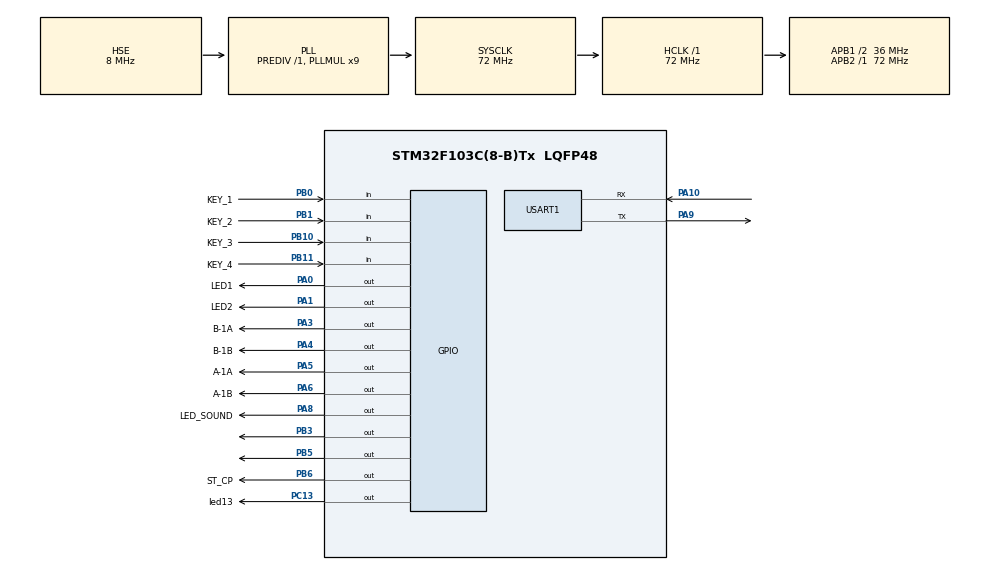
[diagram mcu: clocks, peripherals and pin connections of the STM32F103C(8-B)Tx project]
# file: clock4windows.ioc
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Mcu.Family=STM32F1
PB10.GPIO_PuPd=GPIO_PULLUP
VP_RTC_VS_RTC_Activate.Mode=RTC_Enabled
PA6.GPIO_Label=A-1B
PB0.GPIO_Label=KEY_1
PB6.GPIO_Label=ST_CP
NVIC.TIM1_UP_IRQn=true\:0\:0\:false\:false\:true\:true\:true
PB11.GPIO_PuPd=GPIO_PULLUP
PB11.Signal=GPIO_Input
RCC.SYSCLKSource=RCC_SYSCLKSOURCE_PLLCLK
ProjectManager.StackSize=0x400
PD1-OSC_OUT.Signal=RCC_OSC_OUT
VP_RTC_No_RTC_Output.Mode=RTC_OUT_NO
TIM1.Prescaler=719
PB1.GPIO_PuPd=GPIO_PULLUP
RCC.HCLKFreq_Value=72000000
RCC.APB2TimFreq_Value=72000000
PB6.Signal=GPIO_Output
RCC.AHBFreq_Value=72000000
RTC.Minutes=38
RCC.RTCClockSelection=RCC_RTCCLKSOURCE_LSE
RCC.PLLMUL=RCC_PLL_MUL9
PC14-OSC32_IN.Mode=LSE-External-Oscillator
PC13-TAMPER-RTC.PinState=GPIO_PIN_SET
PA14.Mode=Serial_Wire
PB1.GPIO_Label=KEY_2
RTC.AsynchPrediv=RTC_AUTO_1_SECOND
PA8.Signal=GPIO_Output
PC13-TAMPER-RTC.GPIO_Speed=GPIO_SPEED_FREQ_LOW
VP_TIM1_VS_ClockSourceINT.Mode=Internal
Mcu.Package=LQFP48
PB1.Signal=GPIO_Input
PA6.Signal=GPIO_Output
PC13-TAMPER-RTC.GPIO_PuPd=GPIO_PULLUP
PA10.Signal=USART1_RX
RCC.APB1TimFreq_Value=72000000
TIM1.Period=50
RTC.AutoPrediv=RTC_AUTO_1_SECOND
PA4.GPIO_Label=B-1B
PA3.Signal=GPIO_Output
RCC.PLLSourceVirtual=RCC_PLLSOURCE_HSE
PC15-OSC32_OUT.Mode=LSE-External-Oscillator
PD1-OSC_OUT.Mode=HSE-External-Oscillator
PA10.Mode=Asynchronous
PB11.GPIO_Label=KEY_4
PC13-TAMPER-RTC.Signal=GPIO_Output
PD0-OSC_IN.Signal=RCC_OSC_IN
RCC.APB1CLKDivider=RCC_HCLK_DIV2
PC14-OSC32_IN.Signal=RCC_OSC32_IN
PA0-WKUP.GPIO_Label=LED1
PA0-WKUP.Signal=GPIO_Output
PA13.Signal=SYS_JTMS-SWDIO
PA9.Mode=Asynchronous
PA8.GPIO_Label=LED_SOUND
ProjectManager.TargetToolchain=STM32CubeIDE
PB10.GPIO_Label=KEY_3
RTC.Year=20
PA9.Signal=USART1_TX
RTC.Format=RTC_FORMAT_BIN
RCC.USBFreq_Value=72000000
PC15-OSC32_OUT.Signal=RCC_OSC32_OUT
PA1.Signal=GPIO_Output
PD0-OSC_IN.Mode=HSE-External-Oscillator
PB10.Signal=GPIO_Input
PA5.Signal=GPIO_Output
board=custom
PC13-TAMPER-RTC.GPIO_Label=led13
RCC.APB2Freq_Value=72000000
PA1.GPIO_Label=LED2
PA13.Mode=Serial_Wire
Mcu.Name=STM32F103C(8-B)Tx
PB3.Signal=GPIO_Output
PA4.Signal=GPIO_Output
RCC.SYSCLKFreq_VALUE=72000000
RTC.Hours=17
PB5.Signal=GPIO_Output
PA5.GPIO_Label=A-1A
USART1.VirtualMode=VM_ASYNC
PA14.Signal=SYS_JTCK-SWCLK
ProjectManager.HeapSize=0x200
NVIC.PriorityGroup=NVIC_PRIORITYGROUP_4
PB6.GPIO_Speed=GPIO_SPEED_FREQ_MEDIUM
RCC.APB1Freq_Value=36000000
PB0.Signal=GPIO_Input
PB0.GPIO_PuPd=GPIO_PULLUP
PA3.GPIO_Label=B-1A

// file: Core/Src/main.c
/* USER CODE BEGIN Header */
/**
  ******************************************************************************
  * @file           : main.c
  * @brief          : Main program body
  ******************************************************************************
  * @attention
  *
  * <h2><center>&copy; Copyright (c) 2021 STMicroelectronics.
  * All rights reserved.</center></h2>
  *
  * This software component is licensed by ST under BSD 3-Clause license,
  * the "License"; You may not use this file except in compliance with the
  * License. You may obtain a copy of the License at:
  *                        opensource.org/licenses/BSD-3-Clause
  *
  ******************************************************************************
  */
/* USER CODE END Header */
#include "main.h"

/* USER CODE BEGIN Includes */
#include "string.h"
#include <stdio.h>
/* USER CODE END Includes */

RTC_HandleTypeDef hrtc;

TIM_HandleTypeDef htim1;

UART_HandleTypeDef huart1;

/* USER CODE BEGIN PV */

uint8_t aTxBuffer[1]={0};	//буфер для передачи данных по SPI

#define cs_set() HAL_GPIO_WritePin(GPIOB, GPIO_PIN_6, GPIO_PIN_RESET)
#define cs_reset() HAL_GPIO_WritePin(GPIOB, GPIO_PIN_6, GPIO_PIN_SET)
#define cs_strob() cs_reset();cs_set()

#define data_set() HAL_GPIO_WritePin(GPIOB, GPIO_PIN_5, GPIO_PIN_SET)
#define data_reset() HAL_GPIO_WritePin(GPIOB, GPIO_PIN_5, GPIO_PIN_RESET)

#define spi_set() HAL_GPIO_WritePin(GPIOB, GPIO_PIN_3, GPIO_PIN_SET)
#define spi_reset() HAL_GPIO_WritePin(GPIOB, GPIO_PIN_3, GPIO_PIN_RESET)
#define spi_strob() spi_reset();spi_set();spi_reset()

RTC_TimeTypeDef sTime = {0};
RTC_DateTypeDef DateToUpdate = {0};

volatile	int	count=0;
//volatile	int	c_num=0;
volatile	int c_key_dr=0;
volatile	int keyscan=0;
volatile	int key[]={0,0,0,0};
			int key_f[]={0,0,0,0};
			int	c_mde=0;			//режим работы: 0 - индикация времени, 1 - установка часов, 2 - установка минут
			int key4_count=0;		//режим работы рекуператора: 0 - выключен, 1 - выдув, 2 - вдув, 3 - рекуперация
//			int	dindonf=0;
//volatile	uint8_t Hours_L=0;
//volatile	uint8_t Hours_H=0;
//volatile	uint8_t Minutes_L=0;
//volatile	uint8_t Minutes_H=0;
			int	Tmp=0;
			int co=0;

volatile	int Hours_L=0;
volatile	int Hours_H=0;
volatile	int Minutes_L=0;
volatile	int Minutes_H=0;
volatile	int Seconds_L=0;
volatile	int Seconds_H=0;

//			int	num_ind[]={0b0000111111111111,0b0010111111111111,0b0100111111111111,0b1000111111111111};
// volatile	int	num_ind[]={0b0001111111111111,0b0010111111111111,0b1000111111111111, 0b0100111111111111};

//volatile	uint8_t	sgm_out[4]={0,};	//массив для 4-х выводимых на индикатор цифр в коде 7seg
//volatile	int	sgm_out[4]={0,};	//массив для 4-х выводимых на индикатор цифр в коде 7seg
		uint8_t sgm_out[5]={0,};	//массив для 6-х выводимых на индикатор цифр в коде 7seg
/* USER CODE END PV */

void SystemClock_Config(void);
static void MX_GPIO_Init(void);
static void MX_RTC_Init(void);
static void MX_USART1_UART_Init(void);
static void MX_TIM1_Init(void);

/* USER CODE BEGIN 0 */
//Прерывание от TMR1
void HAL_TIM_PeriodElapsedCallback(TIM_HandleTypeDef *htim)
{
  if(htim->Instance == TIM1) //проверяем какой таймер вызвал колбек
   {
//прерываемя каждую 0,5 мсек.
	 count++;
/*
	  GPIOB->ODR &= 0b0000111111111111;		//гасим все разряды
//	  GPIOB->ODR |= 0b0100111111111111;
	  GPIOB->ODR |= num_ind[c_num];			//

	  GPIOA->ODR &= 0b1111111110000000;		//сбрасываем младшие 7 бит А в 0
	  GPIOA->ODR |= sgm_out[c_num];			//устанавливаем значения сегментов
	  c_num++;
//

	  if(c_num==4)
	  {
		  c_num=0;
	  }
*/
	  c_key_dr++;
	  if(c_key_dr>=50)						//опрос кнопок с защитой от дребезга (значение 50 = 25 мсек)
	  {
		  keyscan=GPIOB->IDR;
		  	  if((keyscan & 1) == 0)
		  	  {
		  		key[0]=1;
		  	  }
		  	  else
		  	  {
		  		key[0]=0;
		  	  }
		  	  if((keyscan & 2) == 0)
		  	  {
		  		key[1]=1;
		  	  }
		  	  else
		  	  {
		  		key[1]=0;
		  	  }
		  	  if((keyscan & 1024) == 0)
		  	  {
		  		key[2]=1;
		  	  }
		  	  else
		  	  {
		  		key[2]=0;
		  	  }
		  	  if((keyscan & 2048) == 0)
		  	  {
		  		key[3]=1;
		  	  }
		  	  else
		  	  {
		  		key[3]=0;
		  	  }
		c_key_dr=0;
	  }

   }
}
//
//
//процедура заполнения массива кода клавиш
//void key_inp (void)
//{
//
//}
//Процедура подучения времени и даты из RTC
//
//Вход: null
//Выход:
// переменные int Minutes_H, Minutes_L, Hours_H Hours_L с единицами/десятками часов и минут
void rtc_get(void)
{
	///////////////////////////////////////////////////////////
	//Получаем значение времени из RTC
		  	  	  	HAL_RTC_GetTime(&hrtc, &sTime, RTC_FORMAT_BIN); // RTC_FORMAT_BIN , RTC_FORMAT_BCD
	///////////////////////////////////////////////////////////
	///////////////////////////////////////////////////////////
	//Преобразуем значение времени в BCD формат
		  	  	  	Seconds_H=sTime.Seconds/10;
		  	  	  	Seconds_L=sTime.Seconds-(Seconds_H*10);
		            Minutes_H=sTime.Minutes/10;
		            Minutes_L=sTime.Minutes-(Minutes_H*10);
		            Hours_H=sTime.Hours/10;
		            Hours_L=sTime.Hours-(Hours_H*10);
	///////////////////////////////////////////////////////////
	///////////////////////////////////////////////////////////
	//Считываем значение даты (нужно для нормальной работы HAL_RTC)
		            HAL_RTC_GetDate(&hrtc, &DateToUpdate, RTC_FORMAT_BIN);
	///////////////////////////////////////////////////////////
#ifdef debug_0
	//4 DEBUG
		            char trans_str[64] = {0,};
	//END 4 DEBUG
	//4 DEBUG
	//Выводим значение часов, минут и секунд в UART1
		            snprintf(trans_str, 63, "Time %d:%d:%d\n", sTime.Hours, sTime.Minutes, sTime.Seconds);
		            HAL_UART_Transmit(&huart1, (uint8_t*)trans_str, strlen(trans_str), 1000);
	//END 4 DEBUG
	//4 DEBUG
	//Выводим BCD значения времени в UART1
		            snprintf(trans_str, 63, "H_H %d H_L %d M_H %d M_L %d\n", Hours_H, Hours_L, Minutes_H,  Minutes_L);
		            HAL_UART_Transmit(&huart1, (uint8_t*)trans_str, strlen(trans_str), 1000);
	//END 4 DEBUG
	//4 DEBUG
	//	            snprintf(trans_str, 63, "Date %d-%d-20%d\n", DateToUpdate.Date, DateToUpdate.Month, DateToUpdate.Year);
	//	            HAL_UART_Transmit(&huart1, (uint8_t*)trans_str, strlen(trans_str), 1000);
	//END 4 DEBUG
#endif
}
//
//
//Процедура преобразования BCD цифры в 7 сегментный код
//
//Вход: BCD цифра
//Выход 7 сегментны йкод цифры
//
uint8_t	bcd27seg (uint8_t bcd)
{
	static uint8_t sgm_m[]={
			0b00111111,			//0
			0b00000110,			//1
			0b01011011,			//2
			0b01001111,			//3
			0b01100110,			//4
			0b01101101,			//5
			0b01111101,			//6
			0b00000111,			//7
			0b01111111,			//8
			0b01101111,			//9
			0b00000000			//ZERRO
	};
	return (sgm_m[bcd]);
}
//
/*
//Процедура очистки индикатора
void	clr_all (void)
{
 	 aTxBuffer[0]=0x00;
 	 cs_set();
 	 for(int i=0;i<6;i++)
 	 {
 		 HAL_SPI_Transmit(&hspi1,(uint8_t*)aTxBuffer, 1, 500);
 	 }
//	    	 HAL_SPI_Transmit(&hspi1,(uint8_t*) sgm_out, 4, 5000);
 	 cs_strob();
//
}
*/
//Вывод цифры
void	num_out(int num)
{
		Tmp=1;
	 	cs_set();
	 	 for(int i=0;i<7;i++)
	 	 {
	 	 if(sgm_out[num] & (64/Tmp))
	 	{
	 		data_set();
	 	}
	 	else
	 	{
	 		data_reset();
	 	}
	 	spi_strob();
	 	Tmp=Tmp*2;
	 	 }
	    data_reset();
	    spi_strob();
}
//
//загружаем цифры для индикации
void	out_num	(void)
{
	  for(int i=0;i<6;i++)
	  {
	  num_out(i);
	  }
	    cs_strob();		//включаем индикацию
}
//
/* USER CODE END 0 */

int main(void)
{

  /* MCU Configuration--------------------------------------------------------*/

  /* Reset of all peripherals, Initializes the Flash interface and the Systick. */
  HAL_Init();

  /* Configure the system clock */
  SystemClock_Config();

  /* Initialize all configured peripherals */
  MX_GPIO_Init();
  MX_RTC_Init();
  MX_USART1_UART_Init();
  MX_TIM1_Init();
  /* USER CODE BEGIN 2 */
  HAL_TIM_Base_Start_IT(&htim1); // передаём в функцию указатель на структуру TIM1
//	  clr_all();				//очистка дисплея

  for(int i=0;i<8;i++)
  	  {
  	  	data_reset();
  	 	spi_strob();
  	  }

  	    cs_strob();
  	    c_mde=0;
  /* USER CODE END 2 */

  /* Infinite loop */
  /* USER CODE BEGIN WHILE */
  while (1)
  {

	  //
	  //КНОПКИ
	  //
	  //нажатие на KEY1 (установка режимов)
	  //
	  	  if((key[0]==1) && (key_f[0]==0))
	  	  {
	  		  key_f[0]=1;
	  		  c_mde++;					//переход на следующий режим
	  	  }
	  	  if((key[0]==0) && (key_f[0]==1))
	  	  {
	  		  key_f[0]=0;
	  	  }
	  	  if(c_mde==3)					//всего режимов 3
	  	  {
	  		  c_mde=0;					//если переход на 4-й режим, то возврат в режим 0
	  	  }
	  //
	  //
	  //нажатие на KEY2 (уменьшение)
	  //
	  	  if((key[1]==1) && (key_f[1]==0))
	  	  {
	  		  key_f[1]=1;
	  		  if(c_mde==1)				//уменьшение часов
	  		  {
	  			  if(sTime.Hours > 1)
	  			  {
	  				  sTime.Hours--;
	  			  }
	  			  else
	  			  {
	  				  sTime.Hours=24;
	  			  }
	  		  }
	  		  if(c_mde==2)				//уменьшение минут
	  		  {
	  			  if(sTime.Minutes > 1)
	  			  {
	  				  sTime.Minutes--;
	  			  }
	  			  else
	  			  {
	  				  sTime.Minutes=59;
	  			  }
	  		  }
	  		sTime.Seconds=0;
	  		HAL_RTC_SetTime(&hrtc, &sTime, RTC_FORMAT_BIN); // RTC_FORMAT_BIN , RTC_FORMAT_BCD
	  	  }
	  	  if((key[1]==0) && (key_f[1]==1))
	  	  {
	  		  key_f[1]=0;
	  	  }
	  //
	  //
	  //нажатие на KEY3 (увеличение)
	  //
	  	  	  if((key[2]==1) && (key_f[2]==0))
	  	  	  {
	  	  		  key_f[2]=1;
	  	  		  if(c_mde==1)				//увеличение часов
	  	  		  {
	  	  			  if(sTime.Hours < 23)
	  	  			  {
	  	  				  sTime.Hours++;
	  	  			  }
	  	  			  else
	  	  			  {
	  	  				  sTime.Hours=0;
	  	  			  }
	  	  		  }
	  	  		  if(c_mde==2)				//увеличение минут
	  	  		  {
	  	  			  if(sTime.Minutes < 59)
	  	  			  {
	  	  				  sTime.Minutes++;
	  	  			  }
	  	  			  else
	  	  			  {
	  	  				  sTime.Minutes=0;
	  	  			  }
	  	  		  }
	  	  		sTime.Seconds=0;
	  	  		HAL_RTC_SetTime(&hrtc, &sTime, RTC_FORMAT_BIN); // RTC_FORMAT_BIN , RTC_FORMAT_BCD
	  	  	  }
	  	  	  if((key[2]==0) && (key_f[2]==1))
	  	  	  {
	  	  		  key_f[2]=0;
	  	  	  }
	  //
	  //
	  //нажатие на KEY4 (переключение рекуператора)
	  //
	  	  	  if((key[3]==1) && (key_f[3]==0))
	  	  	  {
	  	  		  key_f[3]=1;
	  	  		  key4_count++;
	  	  		  if(key4_count == 4)
	  	  		  {
	  	  			key4_count=0;
	  	  		  }
//////	  	  		  dindonf=!dindonf;
	  	  	  }
	  	  	  if((key[3]==0) && (key_f[3]==1))
	  	  	  {
	  	  		  key_f[3]=0;
	  	  	  }

	  //
	  //
	  //РЕЖИМЫ
	  //
	  //мигающие режимы (1,2)
	  //
	    if((count>=500) && (count<1000))
	  	{
	  	  if(c_mde==1)							//установка часов
	  	  {
	  		  sgm_out[5]=bcd27seg(11);			//преобразуем время в 7seg код
	  		  sgm_out[4]=bcd27seg(11);			//--""--
	  		  out_num();

	  	  }
	  	  if(c_mde==2)							//установка минут
	  	  {
	  		  sgm_out[3]=bcd27seg(11);			//преобразуем время в 7seg код
	  		  sgm_out[2]=bcd27seg(11);			//--""--
	  		  out_num();

	  	  }
	  	}
	  //

	  if(count>=1000)
  {
//1 раз в 0,5 секунды
	  count=0;
      HAL_GPIO_TogglePin(led13_GPIO_Port, led13_Pin); // переключаем пин мигалки в противоположное состояние
	  rtc_get();		//получаем текущее время и преобразуем его d BCD Hours_L, Hours_Н, Minutes_L, Minutes_Н
	  sgm_out[5]=bcd27seg(Hours_H);			//преобразуем время в 7seg код
	  sgm_out[4]=bcd27seg(Hours_L);			//--""--
	  sgm_out[3]=bcd27seg(Minutes_H);		//--""--
	  sgm_out[2]=bcd27seg(Minutes_L);		//--""--
	  sgm_out[1]=bcd27seg(Seconds_H);		//--""--
	  sgm_out[0]=bcd27seg(Seconds_L);		//--""--

//
	  out_num();							//вывод цифр для индикации
//
	  if(key4_count==0)
//Выключение рекуперации, вдува и выдува
	  {
		  HAL_GPIO_WritePin(GPIOA, GPIO_PIN_5, GPIO_PIN_RESET);
		  HAL_GPIO_WritePin(GPIOA, GPIO_PIN_6, GPIO_PIN_RESET);
		  HAL_GPIO_WritePin(GPIOA, GPIO_PIN_0, GPIO_PIN_RESET);
		  HAL_GPIO_WritePin(GPIOA, GPIO_PIN_1, GPIO_PIN_RESET);
	  }
	  if(key4_count==1)
//Выдув
	  {
		  HAL_GPIO_WritePin(GPIOA, GPIO_PIN_5, GPIO_PIN_SET);		//выдув
		  HAL_GPIO_WritePin(GPIOA, GPIO_PIN_6, GPIO_PIN_RESET);
		  HAL_GPIO_WritePin(GPIOA, GPIO_PIN_1, GPIO_PIN_RESET);
		  HAL_GPIO_TogglePin(GPIOA, GPIO_PIN_0);
	  }
//Вдув
	  if(key4_count==2)
	  	  {
	  		  HAL_GPIO_WritePin(GPIOA, GPIO_PIN_6, GPIO_PIN_SET);		//вдув
	  		  HAL_GPIO_WritePin(GPIOA, GPIO_PIN_5, GPIO_PIN_RESET);
	  		  HAL_GPIO_WritePin(GPIOA, GPIO_PIN_0, GPIO_PIN_RESET);
	  		  HAL_GPIO_TogglePin(GPIOA, GPIO_PIN_1);
	  	  }
//Работа рекуператора
	  if(key4_count==3)
	  {
	    co++;
	    	if(co == 1)
	    	{
	    		HAL_GPIO_WritePin(GPIOA, GPIO_PIN_5, GPIO_PIN_SET);		//выдув
	    		HAL_GPIO_WritePin(GPIOA, GPIO_PIN_6, GPIO_PIN_RESET);
	    		HAL_GPIO_WritePin(GPIOA, GPIO_PIN_0, GPIO_PIN_SET);
	    		HAL_GPIO_WritePin(GPIOA, GPIO_PIN_1, GPIO_PIN_RESET);
	    	}
	    	if(co == 80)
	    	{
	    		HAL_GPIO_WritePin(GPIOA, GPIO_PIN_5, GPIO_PIN_RESET); //вдув
	    		HAL_GPIO_WritePin(GPIOA, GPIO_PIN_6, GPIO_PIN_SET);
	    		HAL_GPIO_WritePin(GPIOA, GPIO_PIN_0, GPIO_PIN_RESET);
	    		HAL_GPIO_WritePin(GPIOA, GPIO_PIN_1, GPIO_PIN_SET);

	    	}
	    	if(co == 160)
	    	{
	    		co = 0;
	    	}
	  }
//
//
  }

#ifdef debug_1
	//4 DEBUG
		            char trans_str[80] = {0,};
	//Выводим значение кнопок
		            snprintf(trans_str, 80, "key[0] = %d key[1] = %d key[2] = %d key[3] = %d keyscan = %d\n", key[0], key[1], key[2], key[3],keyscan);
		            HAL_UART_Transmit(&huart1, (uint8_t*)trans_str, strlen(trans_str), 1000);
#endif
//
    /* USER CODE END WHILE */

  }
}

void SystemClock_Config(void)
{
  RCC_OscInitTypeDef RCC_OscInitStruct = {0};
  RCC_ClkInitTypeDef RCC_ClkInitStruct = {0};
  RCC_PeriphCLKInitTypeDef PeriphClkInit = {0};

  /** Initializes the RCC Oscillators according to the specified parameters
  * in the RCC_OscInitTypeDef structure.
  */
  RCC_OscInitStruct.OscillatorType = RCC_OSCILLATORTYPE_HSE|RCC_OSCILLATORTYPE_LSE;
  RCC_OscInitStruct.HSEState = RCC_HSE_ON;
  RCC_OscInitStruct.HSEPredivValue = RCC_HSE_PREDIV_DIV1;
  RCC_OscInitStruct.LSEState = RCC_LSE_ON;
  RCC_OscInitStruct.HSIState = RCC_HSI_ON;
  RCC_OscInitStruct.PLL.PLLState = RCC_PLL_ON;
  RCC_OscInitStruct.PLL.PLLSource = RCC_PLLSOURCE_HSE;
  RCC_OscInitStruct.PLL.PLLMUL = RCC_PLL_MUL9;
  if (HAL_RCC_OscConfig(&RCC_OscInitStruct) != HAL_OK)
  {
    Error_Handler();
  }
  /** Initializes the CPU, AHB and APB buses clocks
  */
  RCC_ClkInitStruct.ClockType = RCC_CLOCKTYPE_HCLK|RCC_CLOCKTYPE_SYSCLK
                              |RCC_CLOCKTYPE_PCLK1|RCC_CLOCKTYPE_PCLK2;
  RCC_ClkInitStruct.SYSCLKSource = RCC_SYSCLKSOURCE_PLLCLK;
  RCC_ClkInitStruct.AHBCLKDivider = RCC_SYSCLK_DIV1;
  RCC_ClkInitStruct.APB1CLKDivider = RCC_HCLK_DIV2;
  RCC_ClkInitStruct.APB2CLKDivider = RCC_HCLK_DIV1;

  if (HAL_RCC_ClockConfig(&RCC_ClkInitStruct, FLASH_LATENCY_2) != HAL_OK)
  {
    Error_Handler();
  }
  PeriphClkInit.PeriphClockSelection = RCC_PERIPHCLK_RTC;
  PeriphClkInit.RTCClockSelection = RCC_RTCCLKSOURCE_LSE;
  if (HAL_RCCEx_PeriphCLKConfig(&PeriphClkInit) != HAL_OK)
  {
    Error_Handler();
  }
}

static void MX_RTC_Init(void)
{

//  RTC_TimeTypeDef sTime = {0};
//  RTC_DateTypeDef DateToUpdate = {0};

  /** Initialize RTC Only
  */
  hrtc.Instance = RTC;
  hrtc.Init.AsynchPrediv = RTC_AUTO_1_SECOND;
  hrtc.Init.OutPut = RTC_OUTPUTSOURCE_NONE;
  if (HAL_RTC_Init(&hrtc) != HAL_OK)
  {
    Error_Handler();
  }

  /** Initialize RTC and set the Time and Date
  */
  sTime.Hours = 17;
  sTime.Minutes = 38;
  sTime.Seconds = 0;

 // if (HAL_RTC_SetTime(&hrtc, &sTime, RTC_FORMAT_BIN) != HAL_OK)
 // {
 //   Error_Handler();
 // }
  DateToUpdate.WeekDay = RTC_WEEKDAY_MONDAY;
  DateToUpdate.Month = RTC_MONTH_JANUARY;
  DateToUpdate.Date = 1;
  DateToUpdate.Year = 20;

  if (HAL_RTC_SetDate(&hrtc, &DateToUpdate, RTC_FORMAT_BIN) != HAL_OK)
  {
    Error_Handler();
  }

}

static void MX_TIM1_Init(void)
{

  TIM_ClockConfigTypeDef sClockSourceConfig = {0};
  TIM_MasterConfigTypeDef sMasterConfig = {0};

  htim1.Instance = TIM1;
  htim1.Init.Prescaler = 719;
  htim1.Init.CounterMode = TIM_COUNTERMODE_UP;
  htim1.Init.Period = 50;
  htim1.Init.ClockDivision = TIM_CLOCKDIVISION_DIV1;
  htim1.Init.RepetitionCounter = 0;
  htim1.Init.AutoReloadPreload = TIM_AUTORELOAD_PRELOAD_DISABLE;
  if (HAL_TIM_Base_Init(&htim1) != HAL_OK)
  {
    Error_Handler();
  }
  sClockSourceConfig.ClockSource = TIM_CLOCKSOURCE_INTERNAL;
  if (HAL_TIM_ConfigClockSource(&htim1, &sClockSourceConfig) != HAL_OK)
  {
    Error_Handler();
  }
  sMasterConfig.MasterOutputTrigger = TIM_TRGO_RESET;
  sMasterConfig.MasterSlaveMode = TIM_MASTERSLAVEMODE_DISABLE;
  if (HAL_TIMEx_MasterConfigSynchronization(&htim1, &sMasterConfig) != HAL_OK)
  {
    Error_Handler();
  }

}

static void MX_USART1_UART_Init(void)
{

  huart1.Instance = USART1;
  huart1.Init.BaudRate = 115200;
  huart1.Init.WordLength = UART_WORDLENGTH_8B;
  huart1.Init.StopBits = UART_STOPBITS_1;
  huart1.Init.Parity = UART_PARITY_NONE;
  huart1.Init.Mode = UART_MODE_TX_RX;
  huart1.Init.HwFlowCtl = UART_HWCONTROL_NONE;
  huart1.Init.OverSampling = UART_OVERSAMPLING_16;
  if (HAL_UART_Init(&huart1) != HAL_OK)
  {
    Error_Handler();
  }

}

static void MX_GPIO_Init(void)
{
  GPIO_InitTypeDef GPIO_InitStruct = {0};

  /* GPIO Ports Clock Enable */
  __HAL_RCC_GPIOC_CLK_ENABLE();
  __HAL_RCC_GPIOD_CLK_ENABLE();
  __HAL_RCC_GPIOA_CLK_ENABLE();
  __HAL_RCC_GPIOB_CLK_ENABLE();

  /*Configure GPIO pin Output Level */
  HAL_GPIO_WritePin(led13_GPIO_Port, led13_Pin, GPIO_PIN_SET);

  /*Configure GPIO pin Output Level */
  HAL_GPIO_WritePin(GPIOA, LED1_Pin|LED2_Pin|B_1A_Pin|B_1B_Pin
                          |A_1A_Pin|A_1B_Pin|LED_SOUND_Pin, GPIO_PIN_RESET);

  /*Configure GPIO pin Output Level */
  HAL_GPIO_WritePin(GPIOB, GPIO_PIN_3|GPIO_PIN_5|ST_CP_Pin, GPIO_PIN_RESET);

  /*Configure GPIO pin : led13_Pin */
  GPIO_InitStruct.Pin = led13_Pin;
  GPIO_InitStruct.Mode = GPIO_MODE_OUTPUT_PP;
  GPIO_InitStruct.Pull = GPIO_PULLUP;
  GPIO_InitStruct.Speed = GPIO_SPEED_FREQ_LOW;
  HAL_GPIO_Init(led13_GPIO_Port, &GPIO_InitStruct);

  /*Configure GPIO pins : LED1_Pin LED2_Pin B_1A_Pin B_1B_Pin
                           A_1A_Pin A_1B_Pin LED_SOUND_Pin */
  GPIO_InitStruct.Pin = LED1_Pin|LED2_Pin|B_1A_Pin|B_1B_Pin
                          |A_1A_Pin|A_1B_Pin|LED_SOUND_Pin;
  GPIO_InitStruct.Mode = GPIO_MODE_OUTPUT_PP;
  GPIO_InitStruct.Pull = GPIO_NOPULL;
  GPIO_InitStruct.Speed = GPIO_SPEED_FREQ_LOW;
  HAL_GPIO_Init(GPIOA, &GPIO_InitStruct);

  /*Configure GPIO pins : KEY_1_Pin KEY_2_Pin KEY_3_Pin KEY_4_Pin */
  GPIO_InitStruct.Pin = KEY_1_Pin|KEY_2_Pin|KEY_3_Pin|KEY_4_Pin;
  GPIO_InitStruct.Mode = GPIO_MODE_INPUT;
  GPIO_InitStruct.Pull = GPIO_PULLUP;
  HAL_GPIO_Init(GPIOB, &GPIO_InitStruct);

  /*Configure GPIO pins : PB3 PB5 */
  GPIO_InitStruct.Pin = GPIO_PIN_3|GPIO_PIN_5;
  GPIO_InitStruct.Mode = GPIO_MODE_OUTPUT_PP;
  GPIO_InitStruct.Pull = GPIO_NOPULL;
  GPIO_InitStruct.Speed = GPIO_SPEED_FREQ_LOW;
  HAL_GPIO_Init(GPIOB, &GPIO_InitStruct);

  /*Configure GPIO pin : ST_CP_Pin */
  GPIO_InitStruct.Pin = ST_CP_Pin;
  GPIO_InitStruct.Mode = GPIO_MODE_OUTPUT_PP;
  GPIO_InitStruct.Pull = GPIO_NOPULL;
  GPIO_InitStruct.Speed = GPIO_SPEED_FREQ_MEDIUM;
  HAL_GPIO_Init(ST_CP_GPIO_Port, &GPIO_InitStruct);

}

void Error_Handler(void)
{
  __disable_irq();
  while (1)
  {
  }
}

/************************ (C) COPYRIGHT STMicroelectronics *****END OF FILE****/
